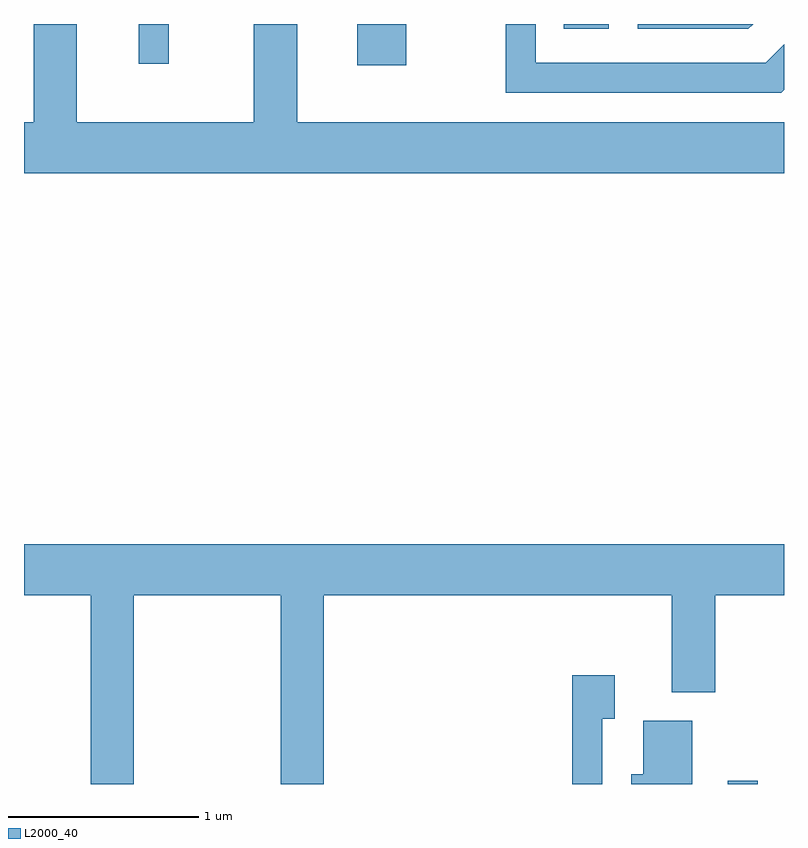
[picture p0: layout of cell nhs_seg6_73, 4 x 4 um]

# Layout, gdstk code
import gdstk
lib = gdstk.Library(unit=1e-6, precision=1e-09)
def R(c, l, rs):  # rectangles x0, y0, x1, y1
    for r in rs: c.add(gdstk.rectangle(r[:2], r[2:], *l))
def P(c, l, *ps):  # polygons
    for p in ps: c.add(gdstk.Polygon(p, *l))
L2000_40 = (2000, 40)

nhs_seg6_73 = lib.new_cell('nhs_seg6_73')
R(nhs_seg6_73, L2000_40, [(191.316,1540.162,191.474,1540.178), (189.366,1543.946,189.624,1544.162), (188.216,1543.953,188.374,1544.162), (190.453,1544.136,190.689,1544.162)])
P(nhs_seg6_73, L2000_40, [(191.611,1543.644),(189.049,1543.644),(189.049,1544.162),(188.821,1544.162),(188.821,1543.644),(187.889,1543.644),(187.889,1544.162),(187.661,1544.162),(187.661,1543.644),(187.611,1543.644),(187.611,1543.376),(191.611,1543.376)],
  [(191.611,1543.815),(191.611,1544.056),(191.514,1543.959),(190.304,1543.959),(190.304,1544.162),(190.146,1544.162),(190.146,1543.801),(191.597,1543.801)],
  [(191.448,1544.162),(190.841,1544.162),(190.841,1544.136),(191.422,1544.136)],
  [(188.189,1541.156),(188.961,1541.156),(188.961,1540.162),(189.189,1540.162),(189.189,1541.156),(191.021,1541.156),(191.021,1540.646),(191.249,1540.646),(191.249,1541.156),(191.611,1541.156),(191.611,1541.424),(187.611,1541.424),(187.611,1541.156),(187.961,1541.156),(187.961,1540.162),(188.189,1540.162)],
  [(190.654,1540.506),(190.719,1540.506),(190.719,1540.734),(190.496,1540.734),(190.496,1540.162),(190.654,1540.162)],
  [(191.129,1540.494),(190.871,1540.494),(190.871,1540.214),(190.806,1540.214),(190.806,1540.162),(191.129,1540.162)])

lib.write_gds('nhs_seg6_73.gds')
